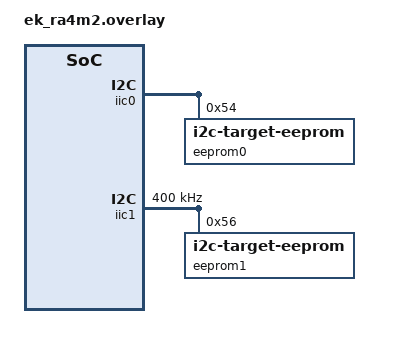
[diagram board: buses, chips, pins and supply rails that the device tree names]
/*
 * Copyright (c) 2025 Renesas Electronics Corporation
 *
 * SPDX-License-Identifier: Apache-2.0
 */

/* To test this sample, connect
 * SCL0 P400  -->  SCL1 P205
 * SDA0 P401  -->  SDA1 P206
 */

&pinctrl {
	iic1_default: iic1_default {
		group1 {
			/* SCL1 SDA1 */
			psels = <RA_PSEL(RA_PSEL_I2C, 2, 5)>,
				<RA_PSEL(RA_PSEL_I2C, 2, 6)>;
			drive-strength = "medium";
		};
	};
};

&iic0 {
	status = "okay";

	eeprom0: eeprom@54 {
		compatible = "zephyr,i2c-target-eeprom";
		address-width = <8>;
		reg = <0x54>;
		size = <256>;
	};
};

&iic1 {
	#address-cells = <1>;
	#size-cells = <0>;
	clock-frequency = <I2C_BITRATE_FAST>;
	pinctrl-0 = <&iic1_default>;
	pinctrl-names = "default";
	interrupts = <92 1>, <93 1>, <94 1>, <95 1>;
	interrupt-names = "rxi", "txi", "tei", "eri";
	status = "okay";

	eeprom1: eeprom@56 {
		compatible = "zephyr,i2c-target-eeprom";
		reg = <0x56>;
		size = <256>;
	};
};
